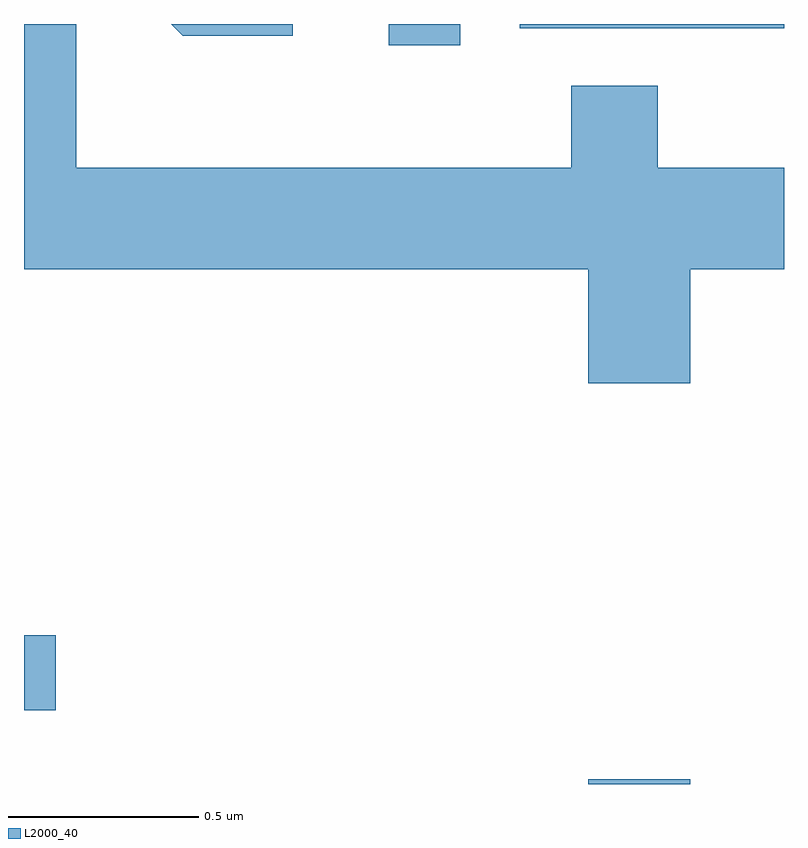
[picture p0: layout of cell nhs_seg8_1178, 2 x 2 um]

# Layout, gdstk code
import gdstk
lib = gdstk.Library(unit=1e-6, precision=1e-09)
def R(c, l, rs):  # rectangles x0, y0, x1, y1
    for r in rs: c.add(gdstk.rectangle(r[:2], r[2:], *l))
def P(c, l, *ps):  # polygons
    for p in ps: c.add(gdstk.Polygon(p, *l))
L2000_40 = (2000, 40)

nhs_seg8_1178 = lib.new_cell('nhs_seg8_1178')
R(nhs_seg8_1178, L2000_40, [(195.096,1888.342,195.364,1888.354), (193.611,1888.536,193.694,1888.734), (194.571,1890.286,194.759,1890.342), (194.916,1890.331,195.611,1890.342)])
P(nhs_seg8_1178, L2000_40, [(195.364,1889.696),(195.611,1889.696),(195.611,1889.964),(195.279,1889.964),(195.279,1890.179),(195.051,1890.179),(195.051,1889.964),(193.749,1889.964),(193.749,1890.342),(193.611,1890.342),(193.611,1889.696),(195.096,1889.696),(195.096,1889.396),(195.364,1889.396)],
  [(194.318,1890.342),(193.998,1890.342),(194.029,1890.311),(194.318,1890.311)])

lib.write_gds('nhs_seg8_1178.gds')
